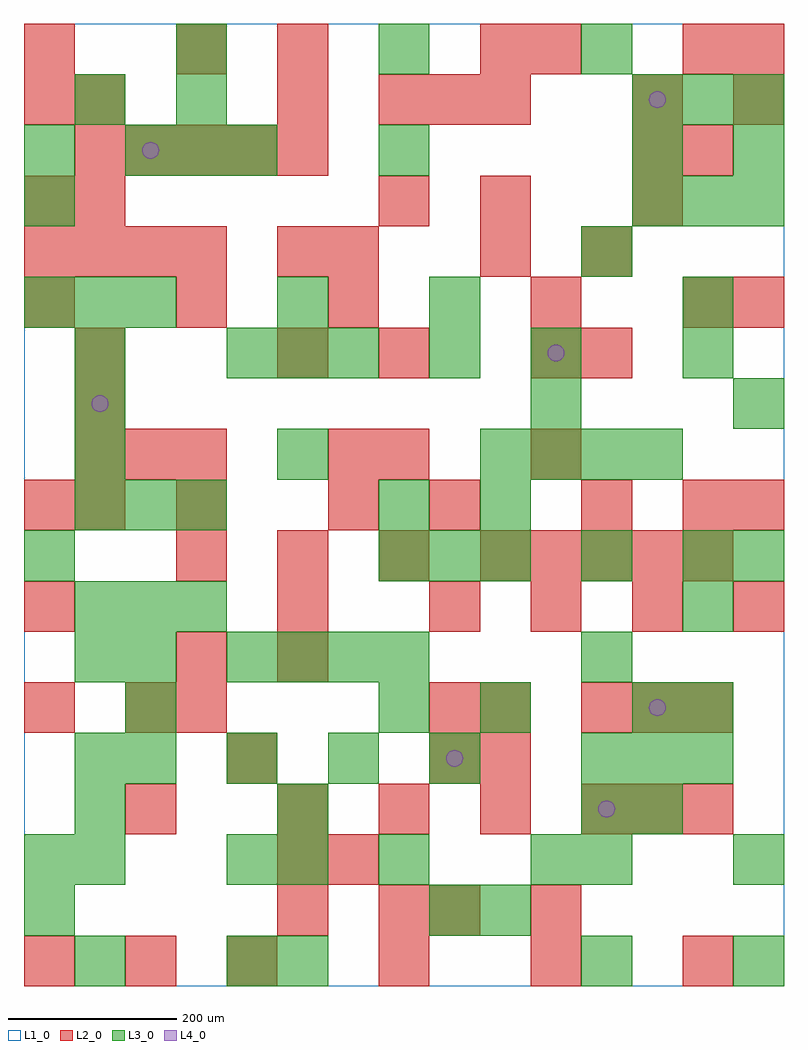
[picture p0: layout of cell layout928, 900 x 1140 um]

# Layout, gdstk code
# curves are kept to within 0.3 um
import gdstk
lib = gdstk.Library(unit=1e-6, precision=1e-09)
def R(c, l, rs):  # rectangles x0, y0, x1, y1
    for r in rs: c.add(gdstk.rectangle(r[:2], r[2:], *l))
def A(c, l, x, y, w, h, nx, ny, dx, dy):  # array of equal rectangles
    R(c, l, [(x+i*dx, y+j*dy, x+i*dx+w, y+j*dy+h) for i in range(nx) for j in range(ny)])
def P(c, l, *ps):  # polygons
    for p in ps: c.add(gdstk.Polygon(p, *l))
L1_0 = (1, 0)
L2_0 = (2, 0)
L3_0 = (3, 0)
L4_0 = (4, 0)

layout928 = lib.new_cell('layout928')
R(layout928, L1_0, [(0,0,900,1140)])
A(layout928, L2_0, 0, 0, 60, 60, 3, 1, 120, 0)
A(layout928, L2_0, 420, 0, 60, 60, 3, 1, 180, 0)
A(layout928, L2_0, 300, 180, 60, 60, 4, 1, 120, 0)
A(layout928, L2_0, 0, 300, 60, 60, 1, 3, 0, 120)
A(layout928, L2_0, 660, 300, 60, 60, 3, 1, 60, 0)
A(layout928, L2_0, 480, 420, 60, 60, 4, 1, 120, 0)
A(layout928, L2_0, 180, 480, 60, 60, 4, 1, 120, 0)
A(layout928, L2_0, 600, 480, 60, 60, 4, 1, 60, 0)
A(layout928, L2_0, 840, 540, 60, 60, 1, 3, 0, 240)
A(layout928, L2_0, 60, 600, 60, 60, 3, 1, 60, 0)
A(layout928, L2_0, 0, 780, 60, 60, 3, 1, 180, 0)
A(layout928, L2_0, 0, 840, 60, 60, 4, 1, 60, 0)
A(layout928, L2_0, 720, 900, 60, 60, 1, 3, 0, 60)
A(layout928, L2_0, 60, 960, 60, 60, 5, 1, 60, 0)
A(layout928, L2_0, 420, 1020, 60, 60, 3, 1, 60, 0)
R(layout928, L2_0, [(300,60,360,120), (420,60,480,120), (480,60,540,120), (600,60,660,120), (300,120,360,180), (360,120,420,180), (120,180,180,240), (720,180,780,240), (780,180,840,240), (240,240,300,300), (480,240,540,300), (540,240,600,300), (120,300,180,360), (180,300,240,360), (480,300,540,360), (540,300,600,360), (180,360,240,420), (300,360,360,420), (300,420,360,480), (60,540,120,600), (180,540,240,600), (360,540,420,600), (480,540,540,600), (660,540,720,600), (780,540,840,600), (360,600,420,660), (420,600,480,660), (600,600,660,660), (60,660,120,720), (60,720,120,780), (300,720,360,780), (420,720,480,780), (600,720,660,780), (660,720,720,780), (600,780,660,840), (780,780,840,840), (300,840,360,900), (360,840,420,900), (540,840,600,900), (660,840,720,900), (0,900,60,960), (60,900,120,960), (420,900,480,960), (540,900,600,960), (780,960,840,1020), (0,1020,60,1080), (60,1020,120,1080), (300,1020,360,1080), (0,1080,60,1140), (180,1080,240,1140), (300,1080,360,1140), (540,1080,600,1140), (600,1080,660,1140), (780,1080,840,1140), (840,1080,900,1140)])
A(layout928, L3_0, 540, 60, 60, 60, 1, 3, 0, 240)
A(layout928, L3_0, 60, 120, 60, 60, 1, 3, 0, 60)
A(layout928, L3_0, 120, 240, 60, 60, 4, 1, 120, 0)
A(layout928, L3_0, 660, 240, 60, 60, 3, 1, 60, 0)
A(layout928, L3_0, 240, 360, 60, 60, 4, 1, 60, 0)
A(layout928, L3_0, 60, 420, 60, 60, 3, 2, 60, 120)
A(layout928, L3_0, 420, 480, 60, 60, 3, 1, 60, 0)
A(layout928, L3_0, 60, 600, 60, 60, 3, 1, 240, 0)
A(layout928, L3_0, 600, 600, 60, 60, 3, 1, 60, 0)
A(layout928, L3_0, 240, 720, 60, 60, 3, 1, 60, 0)
A(layout928, L3_0, 0, 780, 60, 60, 3, 1, 60, 0)
A(layout928, L3_0, 720, 900, 60, 60, 3, 2, 60, 120)
A(layout928, L3_0, 120, 960, 60, 60, 3, 1, 60, 0)
A(layout928, L3_0, 180, 1080, 60, 60, 3, 1, 240, 0)
R(layout928, L3_0, [(60,0,120,60), (240,0,300,60), (300,0,360,60), (660,0,720,60), (840,0,900,60), (0,60,60,120), (480,60,540,120), (0,120,60,180), (240,120,300,180), (300,120,360,180), (420,120,480,180), (600,120,660,180), (660,120,720,180), (840,120,900,180), (300,180,360,240), (660,180,720,240), (720,180,780,240), (120,300,180,360), (420,300,480,360), (720,300,780,360), (780,300,840,360), (60,360,120,420), (120,360,180,420), (660,360,720,420), (780,420,840,480), (0,480,60,540), (660,480,720,540), (780,480,840,540), (840,480,900,540), (420,540,480,600), (60,660,120,720), (600,660,660,720), (840,660,900,720), (60,720,120,780), (480,720,540,780), (600,720,660,780), (780,720,840,780), (300,780,360,840), (480,780,540,840), (780,780,840,840), (660,840,720,900), (0,900,60,960), (0,960,60,1020), (420,960,480,1020), (720,960,780,1020), (840,960,900,1020), (60,1020,120,1080), (180,1020,240,1080)])
P(layout928, L4_0, [(100,690),(99.239,693.827),(97.071,697.071),(93.827,699.239),(90,700),(86.173,699.239),(82.929,697.071),(80.761,693.827),(80,690),(80.761,686.173),(82.929,682.929),(86.173,680.761),(90,680),(93.827,680.761),(97.071,682.929),(99.239,686.173)],
  [(160,990),(159.239,993.827),(157.071,997.071),(153.827,999.239),(150,1000),(146.173,999.239),(142.929,997.071),(140.761,993.827),(140,990),(140.761,986.173),(142.929,982.929),(146.173,980.761),(150,980),(153.827,980.761),(157.071,982.929),(159.239,986.173)],
  [(520,270),(519.239,273.827),(517.071,277.071),(513.827,279.239),(510,280),(506.173,279.239),(502.929,277.071),(500.761,273.827),(500,270),(500.761,266.173),(502.929,262.929),(506.173,260.761),(510,260),(513.827,260.761),(517.071,262.929),(519.239,266.173)],
  [(640,750),(639.239,753.827),(637.071,757.071),(633.827,759.239),(630,760),(626.173,759.239),(622.929,757.071),(620.761,753.827),(620,750),(620.761,746.173),(622.929,742.929),(626.173,740.761),(630,740),(633.827,740.761),(637.071,742.929),(639.239,746.173)],
  [(700,210),(699.239,213.827),(697.071,217.071),(693.827,219.239),(690,220),(686.173,219.239),(682.929,217.071),(680.761,213.827),(680,210),(680.761,206.173),(682.929,202.929),(686.173,200.761),(690,200),(693.827,200.761),(697.071,202.929),(699.239,206.173)],
  [(760,330),(759.239,333.827),(757.071,337.071),(753.827,339.239),(750,340),(746.173,339.239),(742.929,337.071),(740.761,333.827),(740,330),(740.761,326.173),(742.929,322.929),(746.173,320.761),(750,320),(753.827,320.761),(757.071,322.929),(759.239,326.173)],
  [(760,1050),(759.239,1053.827),(757.071,1057.071),(753.827,1059.239),(750,1060),(746.173,1059.239),(742.929,1057.071),(740.761,1053.827),(740,1050),(740.761,1046.173),(742.929,1042.929),(746.173,1040.761),(750,1040),(753.827,1040.761),(757.071,1042.929),(759.239,1046.173)])

lib.write_gds('layout928.gds')
